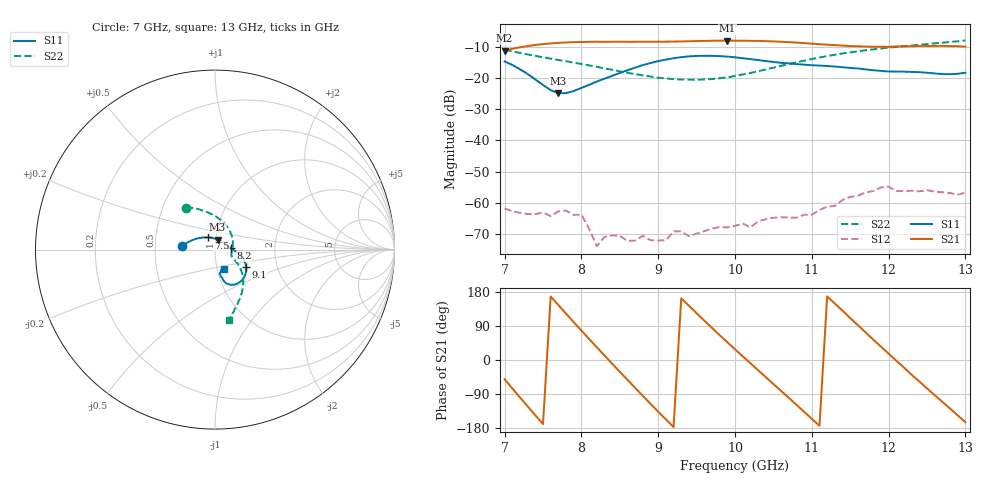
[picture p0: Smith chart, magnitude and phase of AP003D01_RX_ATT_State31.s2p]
!S2P File: Measurements: S11, S21, S12, S22:
# Hz S  dB  R 50
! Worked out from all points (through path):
!   61 points, 7 GHz to 13 GHz, reference 50 ohm
!   highest |S21| = -7.98 dB at 9.9 GHz (marker M1); lowest = -11.2 dB at 7 GHz (marker M2)
!   lowest |S11| = -24.9 dB at 7.7 GHz (marker M3), VSWR 1.12, Z = 51.1 + j5.68 ohm
!   |S11| at or under -10 dB: start of sweep to end of sweep
!   |S22| runs from -20.6 to -7.9 dB; largest |S21 - S12| = 0.4
!   S11 on the Smith chart (normalised r, x): 7 GHz: 0.69, +0.03; 7.5 GHz: 0.92, +0.13; 8.2 GHz: 1.19, +0.02; 9.1 GHz: 1.39, -0.28; 13 GHz: 1.08, -0.24
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7e9  -14.66 174.5  -11.18 -50.7  -61.81 115.3  -10.91 124.6
7.2e9  -17.18 157.9  -10.13 -98.9  -63.24 88.4  -11.93 115.2
7.5e9  -22.24 118.5  -9.11 -169.1  -63.13 53.5  -13.33 102.7
7.7e9  -24.86 75.7  -8.71 145.0  -62.78 20.9  -14.19 94.0
8e9  -23.18 21.7  -8.42 77.7  -63.75 -51.1  -15.49 78.6
8.2e9  -21.12 5.9  -8.35 33.7  -73.93 -58.2  -16.40 66.8
8.4e9  -19.29 -2.7  -8.34 -9.7  -70.47 -52.1  -17.35 53.8
8.7e9  -16.65 -13.0  -8.36 -73.6  -72.13 -60.2  -18.76 33.1
9e9  -14.55 -24.9  -8.33 -136.4  -72.09 -76.8  -19.89 11.8
9.1e9  -14.08 -28.9  -8.33 -156.8  -72.09 -74.4  -20.11 5.4
9.3e9  -13.31 -37.7  -8.25 162.9  -69.19 -94.1  -20.47 -5.6
9.6e9  -12.85 -51.2  -8.09 104.0  -69.13 -93.0  -20.45 -16.7
9.9e9  -13.11 -62.5  -7.98 47.0  -67.92 -104.6  -19.76 -23.2
1e10  -13.35 -65.7  -8.01 28.2  -67.42 -113.7  -19.34 -24.4
1.02e10  -13.92 -70.5  -8.06 -8.5  -67.87 -116.3  -18.38 -27.1
1.05e10  -14.82 -74.3  -8.24 -63.4  -64.82 -125.6  -16.68 -31.5
1.07e10  -15.30 -75.2  -8.48 -99.9  -64.74 -131.1  -15.53 -35.2
1.1e10  -15.89 -76.1  -8.96 -155.1  -63.82 -133.7  -13.89 -41.4
1.15e10  -16.76 -78.1  -9.74 110.6  -58.12 -153.3  -11.75 -53.0
1.2e10  -17.90 -75.8  -9.97 16.8  -54.85 159.0  -10.23 -63.3
1.25e10  -18.29 -73.6  -9.72 -74.8  -55.96 121.7  -9.13 -71.8
1.3e10  -18.30 -65.5  -9.92 -164.0  -56.72 93.1  -7.94 -78.6
